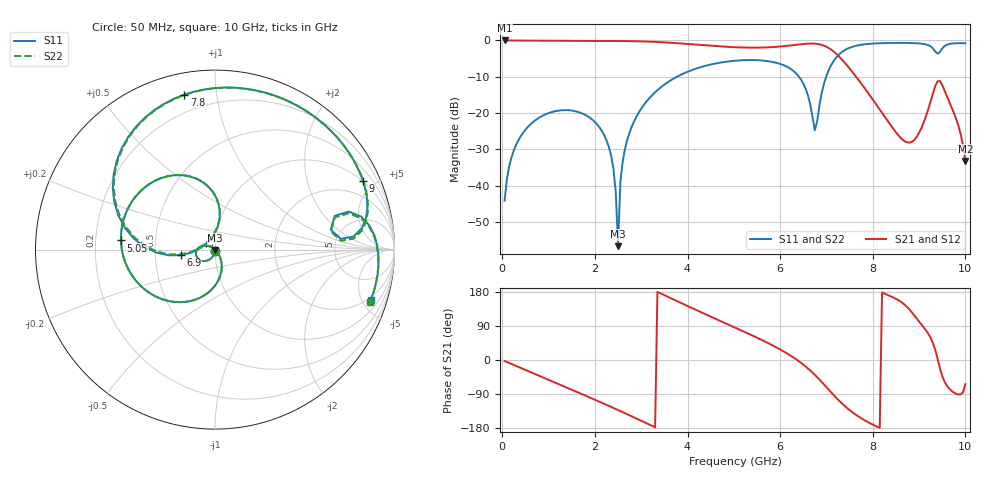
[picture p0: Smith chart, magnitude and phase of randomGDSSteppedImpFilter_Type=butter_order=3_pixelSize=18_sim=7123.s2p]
! freq	dB(S11)	phase(S11)	dB(S12)	phase(S12)
!  dB(S21)	phase(S21)	dB(S22)	phase(S22)
!S-par simulation data
#  GHz  S  DB  R 50
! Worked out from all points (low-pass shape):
!   200 points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, 50 MHz to 10 GHz, reference 50 ohm
!   highest |S21| = -0.01 dB at 50 MHz (marker M1); lowest = -33.2 dB at 10 GHz (marker M2)
!   |S21| within 3 dB of the highest: start of sweep to 7.15 GHz
!   lowest |S11| = -56.7 dB at 2.5 GHz (marker M3), VSWR 1.00, Z = 50.1 - j0.131 ohm
!   |S11| at or under -10 dB: start of sweep to 3.772 GHz; 6.407 GHz to 6.994 GHz (586.2 MHz wide, 8.75 % of centre)
!   |S22| runs from -57.1 to -0.7 dB; largest |S21 - S12| = 0
!   S11 on the Smith chart (normalised r, x): 50 MHz: 1.00, -0.01; 5.05 GHz: 0.31, +0.04; 6.9 GHz: 0.68, -0.04; 7.8 GHz: 0.11, +0.81; 9 GHz: 0.97, +4.30; 10 GHz: 1.73, -5.80
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0.05  -44.12 -92.0  -0.01 -2.7  -0.01 -2.7  -44.12 -92.0
0.2  -32.15 -100.5  -0.03 -10.6  -0.03 -10.6  -32.15 -100.6
0.55  -23.84 -119.3  -0.06 -28.9  -0.06 -28.9  -23.84 -119.3
1.75  -20.25 177.8  -0.15 -91.5  -0.15 -91.5  -20.25 177.6
2.35  -31.70 146.3  -0.15 -123.8  -0.15 -123.8  -31.70 145.7
2.45  -41.77 143.5  -0.16 -129.3  -0.16 -129.3  -41.78 141.4
2.5  -56.65 -62.9  -0.16 -132.1  -0.16 -132.1  -57.05 -52.7
2.55  -38.93 -48.4  -0.16 -134.9  -0.16 -134.9  -38.94 -47.1
2.7  -27.30 -54.8  -0.18 -143.3  -0.18 -143.3  -27.30 -54.6
3.4  -13.15 -94.1  -0.47 176.7  -0.47 176.7  -13.15 -94.2
4.25  -7.48 -142.0  -1.22 128.4  -1.22 128.4  -7.48 -142.2
5.05  -5.57 174.4  -1.88 84.3  -1.88 84.3  -5.57 174.2
6.25  -8.04 102.7  -1.35 9.6  -1.35 9.6  -8.04 102.4
6.7  -21.23 92.6  -0.86 -33.4  -0.86 -33.4  -21.07 93.4
6.75  -24.74 127.2  -0.89 -39.3  -0.89 -39.3  -24.35 127.1
6.9  -14.31 -170.7  -1.24 -58.3  -1.24 -58.3  -14.26 -172.2
7.3  -3.55 148.9  -4.79 -110.7  -4.79 -110.7  -3.54 148.0
7.8  -1.11 101.3  -12.73 -157.4  -12.73 -157.4  -1.11 100.4
8.35  -0.70 63.6  -22.69 170.2  -22.69 170.2  -0.70 62.7
9  -0.83 25.0  -25.46 101.6  -25.46 101.6  -0.83 24.1
9.45  -3.18 15.7  -11.20 -21.5  -11.20 -21.5  -3.20 15.0
10  -0.80 -18.0  -33.17 -63.6  -33.17 -63.6  -0.80 -18.8
